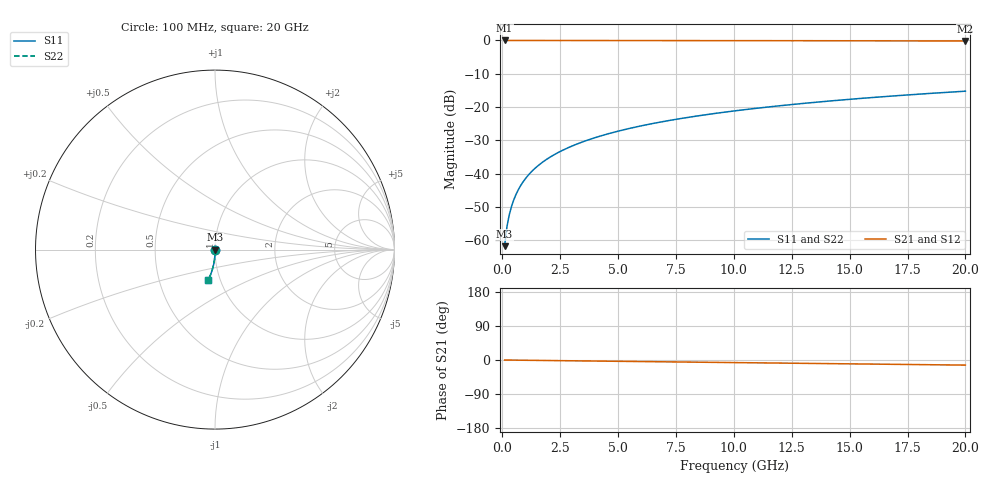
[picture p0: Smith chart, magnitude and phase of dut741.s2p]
! Touchstone file exported from HFSS 2026.1.0
!  File:  C:/ffzhzh/LocalFiles/Ansys_Project_Files/temp_train_TSV_741_1783182804_51560.aedt
!  Generated:  12:34:42 AM Jul  5, 2026
!  Design:  TSV
!  Project:  temp_train_TSV_741_1783182804_51560
! Variables:
!  h_bsmrdl = 2um
!  h_ox = 20um
!  h_rdl = 5um
!  h_sub = 99.24um
!  h_tmrdl = 5um
!  h_tsv = 99.24um
!  h_via = 3um
!  l_bsmrdl = 300um
!  l_sub = 416.36um
!  l_tmrdl = 200um
!  m_sub = 200um
!  pitch = 18.37um
!  r_tsv = 8.18um
!  s_tmrdl = 10um
!  w_bsmrdl = 18um
!  w_sub = 500um
!  w_tmrdl = 12um
!  x_tsv_center1 = 206um
!  x_tsv_center2 = 524um
!  x_tsv_center3 = 736um
!  x_tsv_center4 = 1054um
!  x_tsv_center5 = 1266um
!  x_tsv_center6 = 1584um
# GHz S MA R 50.000000
! Terminal data exported
! Port[1] = TSV1_1_T1
! Port[2] = TSV1_1_T2
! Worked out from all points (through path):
!   200 points, 100 MHz to 20 GHz, reference 50 ohm
!   highest |S21| = 0.00 dB at 100 MHz (marker M1); lowest = -0.2 dB at 20 GHz (marker M2)
!   group delay of S21, straight-line fit = 1.87 ps
!   lowest |S11| = -61.8 dB at 100 MHz (marker M3), VSWR 1.00, Z = 50 - j0.0774 ohm
!   |S11| at or under -10 dB: start of sweep to end of sweep
!   |S22| runs from -61.8 to -15.2 dB; largest |S21 - S12| = 3.2e-15
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0.1  0.0008099 -72.7  0.9998 -0.1  0.9998 -0.1  0.0008099 -72.7
! Gamma 0 0 0 0
! Port Impedance 50 0 50 0
0.2  0.001584 -79.9  0.9997 -0.1  0.9997 -0.1  0.001584 -79.9
0.3  0.002389 -82.1  0.9997 -0.2  0.9997 -0.2  0.002389 -82.1
0.4  0.003216 -83.2  0.9996 -0.3  0.9996 -0.3  0.003216 -83.2
0.5  0.00406 -83.9  0.9995 -0.4  0.9995 -0.4  0.00406 -83.9
0.7  0.005778 -85.0  0.9994 -0.5  0.9994 -0.5  0.005778 -85.0
0.8  0.006646 -85.4  0.9994 -0.6  0.9994 -0.6  0.006645 -85.4
1  0.008386 -86.2  0.9993 -0.7  0.9993 -0.7  0.008386 -86.2
1.2  0.01013 -86.8  0.9992 -0.8  0.9992 -0.8  0.01013 -86.8
1.4  0.01187 -87.3  0.9992 -1.0  0.9992 -1.0  0.01187 -87.3
1.7  0.01448 -88.0  0.9991 -1.2  0.9991 -1.2  0.01448 -88.0
2  0.0171 -88.5  0.999 -1.4  0.999 -1.4  0.0171 -88.5
2.7  0.02319 -89.4  0.9987 -1.9  0.9987 -1.9  0.02319 -89.4
3.5  0.03018 -90.3  0.9984 -2.4  0.9984 -2.4  0.03018 -90.3
4.2  0.0363 -90.9  0.9981 -2.9  0.9981 -2.9  0.0363 -90.9
5  0.04331 -91.6  0.9977 -3.4  0.9977 -3.4  0.04331 -91.6
6.8  0.05911 -93.0  0.9966 -4.7  0.9966 -4.7  0.05911 -93.0
8.3  0.07226 -94.2  0.9955 -5.7  0.9955 -5.7  0.07226 -94.2
10.1  0.088 -95.5  0.994 -6.9  0.994 -6.9  0.088 -95.5
13.4  0.1166 -97.9  0.9908 -9.1  0.9908 -9.1  0.1166 -97.9
16.7  0.145 -100.2  0.9867 -11.3  0.9867 -11.3  0.145 -100.2
20  0.1729 -102.5  0.9819 -13.5  0.9819 -13.5  0.1729 -102.5
